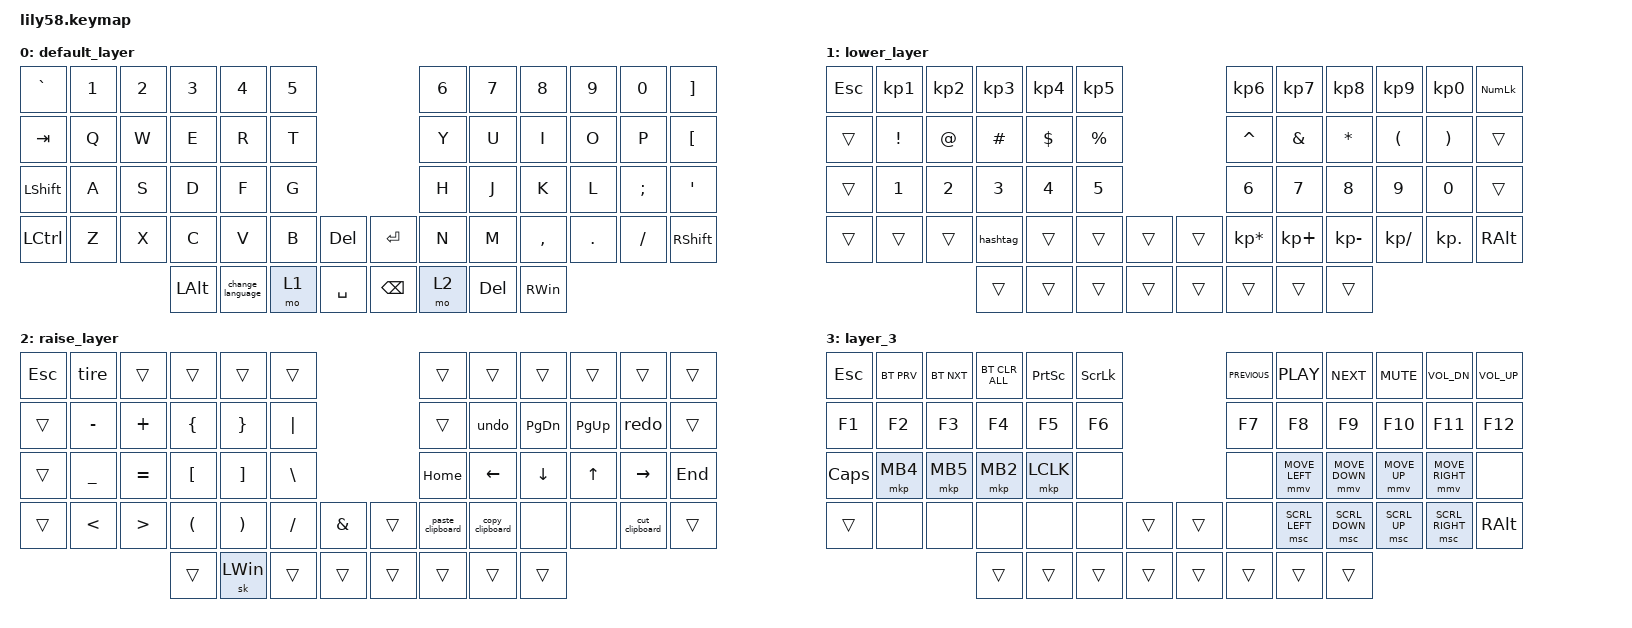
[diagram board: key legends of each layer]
/*
 * Copyright (c) 2020 The ZMK Contributors
 *
 * SPDX-License-Identifier: MIT
 */

#define ZMK_POINTING_DEFAULT_MOVE_VAL 1500  // default: 600
#define ZMK_POINTING_DEFAULT_SCRL_VAL 20    // default: 10

#include <behaviors.dtsi>
#include <dt-bindings/zmk/bt.h>
#include <dt-bindings/zmk/keys.h>
#include <dt-bindings/zmk/pointing.h>




/ {
    combos {
        compatible = "zmk,combos";

        combo_esc {
            timeout-ms = <50>;
            key-positions = <0 1>;
            bindings = <&kp ESC>;
        };
    };

    conditional_layers {
        compatible = "zmk,conditional-layers";
        tri_layer {
            if-layers = <1 2>;
            then-layer = <3>;
        };
    };


    macros {
        change_language: change_language {
            compatible = "zmk,behavior-macro";
            #binding-cells = <0>;
            bindings = <&kp RG(SPACE)>;
            label = "CHANGE_LANGUAGE";
        };

        copy_clipboard: copy_clipboard {
            compatible = "zmk,behavior-macro";
            #binding-cells = <0>;
            bindings = <&kp LC(C)>;
            label = "COPY_CLIPBOARD";
        };

        paste_clipboard: paste_clipboard {
            compatible = "zmk,behavior-macro";
            #binding-cells = <0>;
            bindings = <&kp LC(V)>;
            label = "PASTE_CLIPBOARD";
        };

        hashtag: hashtag {
            compatible = "zmk,behavior-macro";
            #binding-cells = <0>;
            bindings =
                <&macro_press>,
                <&kp LALT>,
                <&macro_tap>,
                <&kp KP_NUMBER_3 &kp KP_NUMBER_5>,
                <&macro_release>,
                <&kp LALT>;

            label = "HASHTAG";
        };

        cut_clipboard: cut_clipboard {
            compatible = "zmk,behavior-macro";
            #binding-cells = <0>;
            bindings = <&kp LC(X)>;
            label = "CUT_CLIPBOARD";
        };

        undo: undo {
            compatible = "zmk,behavior-macro";
            #binding-cells = <0>;
            bindings = <&kp LC(Z)>;
            label = "UNDO";
        };

        redo: redo {
            compatible = "zmk,behavior-macro";
            #binding-cells = <0>;
            bindings = <&kp LC(Y)>;
            label = "REDO";
        };

        tire: tire2 {
            compatible = "zmk,behavior-macro";
            #binding-cells = <0>;
            bindings =
                <&macro_press>,
                <&kp LALT>,
                <&macro_tap>,
                <&kp KP_NUMBER_0 &kp KP_NUMBER_1 &kp KP_NUMBER_5 &kp KP_NUMBER_1>,
                <&macro_release>,
                <&kp LALT>;

            label = "TIRE2";
        };
    };



    keymap {
        compatible = "zmk,keymap";

        default_layer {
            // ------------------------------------------------------------------------------------------------------------
            // |  ESC  |  1  |  2  |  3   |  4   |  5   |                   |  6   |  7    |  8    |  9   |   0   |   `   |
            // |  TAB  |  Q  |  W  |  E   |  R   |  T   |                   |  Y   |  U    |  I    |  O   |   P   |   -   |
            // |  CTRL |  A  |  S  |  D   |  F   |  G   |                   |  H   |  J    |  K    |  L   |   ;   |   '   |
            // | SHIFT |  Z  |  X  |  C   |  V   |  B   |   "["  |  |  "]"  |  N   |  M    |  ,    |  .   |   /   | SHIFT |
            //                     | ALT  | GUI  | LOWER|  SPACE |  | ENTER | RAISE| BSPC  | GUI   |

            bindings = <
&kp GRAVE       &kp NUMBER_1  &kp N2  &kp N3    &kp N4            &kp N5                              &kp N6  &kp N7   &kp N8         &kp N9   &kp N0    &kp RIGHT_BRACKET
&kp TAB         &kp Q         &kp W   &kp E     &kp R             &kp T                               &kp Y   &kp U    &kp I          &kp O    &kp P     &kp LEFT_BRACKET
&kp LEFT_SHIFT  &kp A         &kp S   &kp D     &kp F             &kp G                               &kp H   &kp J    &kp K          &kp L    &kp SEMI  &kp SQT
&kp LCTRL       &kp Z         &kp X   &kp C     &kp V             &kp B   &kp DEL      &kp ENTER      &kp N   &kp M    &kp COMMA      &kp DOT  &kp FSLH  &kp RSHFT
                                      &kp LALT  &change_language  &mo 1   &kp SPACE    &kp BACKSPACE  &mo 2   &kp DEL  &kp RIGHT_WIN
            >;
        };

        lower_layer {
            // ------------------------------------------------------------------------------------------------------------
            // | BTCLR | BT1 | BT2 |  BT3 |  BT4 |  BT5 |                   |      |       |       |      |       |       |
            // |  F1   |  F2 |  F3 |  F4  |  F5  |  F6  |                   |  F7  |  F8   |  F9   |  F10 |  F11  |  F12  |
            // |   `   |  !  |  @  |  #   |  $   |  %   |                   |  ^   |  &    |  *    |  (   |   )   |   ~   |
            // |       |     |     |      |      |      |        |  |       |      |  _    |  +    |  {   |   }   |  "|"  |
            //                     |      |      |      |        |  |       |      |       |       |

            bindings = <
&kp ESCAPE  &kp KP_NUMBER_1  &kp KP_NUMBER_2  &kp KP_NUMBER_3  &kp KP_NUMBER_4  &kp KP_NUMBER_5                    &kp KP_NUMBER_6  &kp KP_NUMBER_7  &kp KP_NUMBER_8  &kp KP_NUMBER_9       &kp KP_NUMBER_0        &kp KP_NUMLOCK
&trans      &kp EXCLAMATION  &kp AT_SIGN      &kp POUND        &kp DOLLAR       &kp PERCENT                        &kp CARET        &kp AMPERSAND    &kp ASTERISK     &kp LEFT_PARENTHESIS  &kp RIGHT_PARENTHESIS  &trans
&trans      &kp NUMBER_1     &kp NUMBER_2     &kp NUMBER_3     &kp NUMBER_4     &kp NUMBER_5                       &kp NUMBER_6     &kp N7           &kp N8           &kp N9                &kp N0                 &trans
&trans      &trans           &trans           &hashtag         &trans           &trans           &trans    &trans  &kp KP_MULTIPLY  &kp KP_PLUS      &kp KP_SUBTRACT  &kp KP_DIVIDE         &kp KP_DOT             &kp RIGHT_ALT
                                              &trans           &trans           &trans           &trans    &trans  &trans           &trans           &trans
            >;
        };

        raise_layer {
            // ------------------------------------------------------------------------------------------------------------
            // |       |     |     |      |      |      |                   |      |       |       |      |       |       |
            // |   `   |  1  |  2  |  3   |  4   |  5   |                   |  6   |   7   |   8   |  9   |   0   |       |
            // |   F1  |  F2 |  F3 |  F4  |  F5  |  F6  |                   |      |   <-  |   v   |  ^   |  ->   |       |
            // |   F7  |  F8 |  F9 |  F10 |  F11 |  F12 |        |  |       |  +   |   -   |   =   |  [   |   ]   |   \   |
            //                     |      |      |      |        |  |       |      |       |       |

            bindings = <
&kp ESCAPE  &tire          &trans            &trans                &trans                 &trans                                  &trans            &trans           &trans         &trans     &trans          &trans
&trans      &kp MINUS      &kp PLUS          &kp LEFT_BRACE        &kp RIGHT_BRACE        &kp PIPE                                &trans            &undo            &kp PAGE_DOWN  &kp PG_UP  &redo           &trans
&trans      &kp UNDER      &kp EQUAL         &kp LEFT_BRACKET      &kp RIGHT_BRACKET      &kp BACKSLASH                           &kp HOME          &kp LEFT         &kp DOWN       &kp UP     &kp RIGHT       &kp END
&trans      &kp LESS_THAN  &kp GREATER_THAN  &kp LEFT_PARENTHESIS  &kp RIGHT_PARENTHESIS  &kp SLASH      &kp AMPERSAND    &trans  &paste_clipboard  &copy_clipboard  &none          &none      &cut_clipboard  &trans
                                             &trans                &sk LEFT_WIN           &trans         &trans           &trans  &trans            &trans           &trans
            >;
        };

        layer_3 {
            bindings = <
&kp ESCAPE  &bt BT_PRV  &bt BT_NXT  &bt BT_CLR_ALL  &kp PRINTSCREEN  &kp SCROLLLOCK                    &kp C_PREVIOUS  &kp C_PLAY      &kp C_NEXT      &kp C_MUTE    &kp C_VOL_DN     &kp C_VOLUME_UP
&kp F1      &kp F2      &kp F3      &kp F4          &kp F5           &kp F6                            &kp F7          &kp F8          &kp F9          &kp F10       &kp F11          &kp F12
&kp CAPS    &mkp MB4    &mkp MB5    &mkp MB2        &mkp LCLK        &none                             &none           &mmv MOVE_LEFT  &mmv MOVE_DOWN  &mmv MOVE_UP  &mmv MOVE_RIGHT  &none
&trans      &none       &none       &none           &none            &none           &trans    &trans  &none           &msc SCRL_LEFT  &msc SCRL_DOWN  &msc SCRL_UP  &msc SCRL_RIGHT  &kp RIGHT_ALT
                                    &trans          &trans           &trans          &trans    &trans  &trans          &trans          &trans
            >;
        };
    };
};
